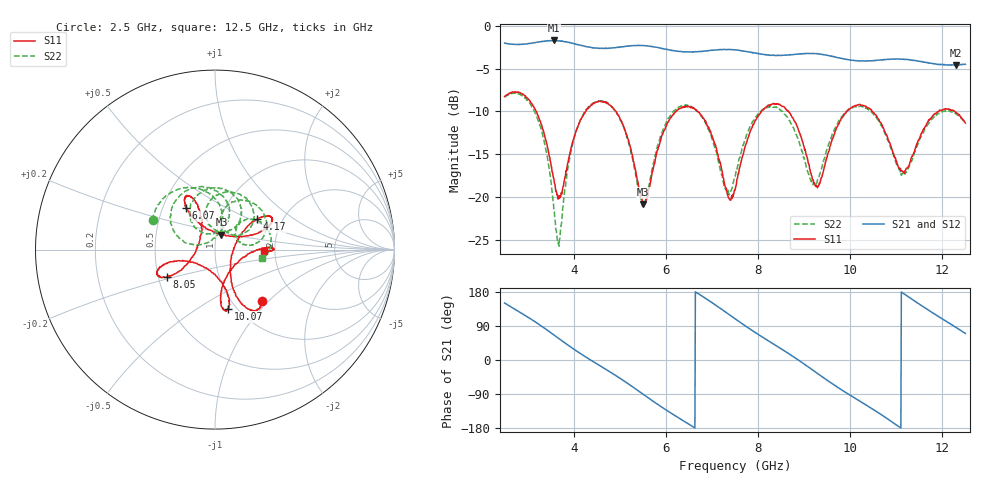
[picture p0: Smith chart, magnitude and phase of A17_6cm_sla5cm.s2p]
!Keysight Technologies N9950B: A.12.38
!Date: Monday, 17 April 2023 21:08:56
!Timezone: (UTC-06:00) Central Time (US & Canada)
!Model: N9950B
!Serial: MY61131330
!GPS Latitude:
!GPS Longitude:
!GPS TimeStamp: 0001-01-01 00:00:00Z
!GPS Seconds Since Last Read: 0
!CHECKSUM:0176781082
!Correction: S11(ON U)S21(ON U)S12(ON U)S22(ON U)
!S2P File: Measurements:S11,S21,S12,S22:
# Hz S DB R 50
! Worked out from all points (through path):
!   1001 points, 2.5 GHz to 12.5 GHz, reference 50 ohm
!   highest |S21| = -1.68 dB at 3.57 GHz (marker M1); lowest = -4.6 dB at 12.29 GHz (marker M2)
!   group delay of S21, straight-line fit = 223 ps
!   lowest |S11| = -20.9 dB at 5.51 GHz (marker M3), VSWR 1.20, Z = 53 + j8.86 ohm
!   |S11| at or under -10 dB: 4.918 GHz to 6.223 GHz (1.305 GHz wide, 23.4 % of centre); 6.696 GHz to 8.076 GHz (1.38 GHz wide, 18.7 % of centre); 10.48 GHz to 11.91 GHz (1.434 GHz wide, 12.8 % of centre)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
!   |S22| runs from -25.8 to -7.8 dB; largest |S21 - S12| = 0.0057
!   S11 on the Smith chart (normalised r, x): 2.5 GHz: 1.35, -0.91; 4.17 GHz: 1.49, +0.55; 6.07 GHz: 0.66, +0.33; 8.05 GHz: 0.55, -0.19; 10.07 GHz: 0.91, -0.68; 12.5 GHz: 1.74, -0.03
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2.5e9  -8.26 -47.9  -2.00 150.3  -2.02 150.5  -8.32 154.7
3.16e9  -9.74 -64.3  -1.95 101.0  -1.91 100.9  -10.16 95.1
3.57e9  -17.89 -46.5  -1.68 66.1  -1.68 66.0  -21.71 79.9
3.69e9  -19.86 -11.7  -1.72 55.5  -1.74 55.5  -25.04 134.8
4.17e9  -10.78 35.8  -2.27 15.1  -2.25 15.1  -10.75 148.0
4.89e9  -9.84 23.6  -2.54 -39.4  -2.54 -39.3  -9.86 86.9
5.51e9  -20.88 66.6  -2.28 -90.7  -2.27 -90.7  -20.84 100.8
5.84e9  -14.09 123.4  -2.53 -118.4  -2.53 -118.6  -13.63 129.3
6.07e9  -11.01 124.7  -2.77 -137.0  -2.78 -136.9  -10.71 116.2
6.82e9  -10.83 112.2  -2.93 165.9  -2.94 166.0  -11.01 60.3
7.31e9  -19.13 136.8  -2.75 125.2  -2.74 125.3  -19.17 67.8
7.5e9  -19.21 -172.4  -2.79 109.0  -2.78 108.9  -17.61 100.1
8.05e9  -10.18 -150.3  -3.25 63.7  -3.27 63.9  -10.02 83.9
8.67e9  -10.08 -162.7  -3.36 16.4  -3.35 16.4  -11.02 39.6
9.17e9  -17.60 -145.1  -3.19 -25.1  -3.19 -25.1  -18.44 46.0
9.61e9  -13.19 -75.5  -3.56 -62.6  -3.57 -62.6  -12.64 77.8
1.007e10  -9.40 -77.6  -4.02 -98.1  -4.05 -98.3  -9.48 50.1
1.084e10  -13.49 -79.3  -3.88 -157.8  -3.90 -157.9  -13.51 7.5
1.114e10  -17.06 -43.5  -3.89 177.0  -3.88 177.0  -17.27 25.8
1.141e10  -14.41 -7.0  -4.04 154.5  -4.03 154.6  -14.62 46.9
1.229e10  -10.12 -1.5  -4.59 86.5  -4.55 86.3  -10.28 1.8
1.25e10  -11.36 -1.7  -4.47 70.1  -4.48 70.1  -11.41 -10.2
